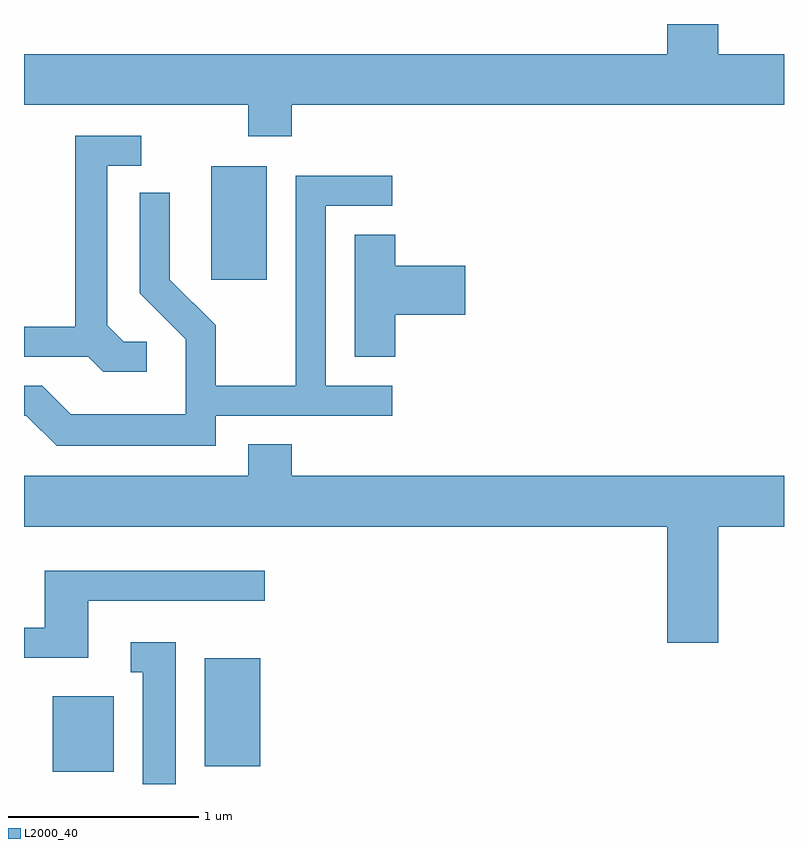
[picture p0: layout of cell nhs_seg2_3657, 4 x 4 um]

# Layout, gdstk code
import gdstk
lib = gdstk.Library(unit=1e-6, precision=1e-09)
def R(c, l, rs):  # rectangles x0, y0, x1, y1
    for r in rs: c.add(gdstk.rectangle(r[:2], r[2:], *l))
def P(c, l, *ps):  # polygons
    for p in ps: c.add(gdstk.Polygon(p, *l))
L2000_40 = (2000, 40)

nhs_seg2_3657 = lib.new_cell('nhs_seg2_3657')
R(nhs_seg2_3657, L2000_40, [(291.761,1095.866,292.084,1096.264), (292.561,1095.896,292.854,1096.464), (292.596,1098.456,292.889,1099.054)])
P(nhs_seg2_3657, L2000_40, [(293.019,1099.376),(295.611,1099.376),(295.611,1099.644),(295.264,1099.644),(295.264,1099.802),(294.996,1099.802),(294.996,1099.644),(291.611,1099.644),(291.611,1099.376),(292.791,1099.376),(292.791,1099.211),(293.019,1099.211)],
  [(292.258,1098.129),(292.137,1098.129),(292.049,1098.217),(292.049,1099.056),(292.228,1099.056),(292.228,1099.214),(291.881,1099.214),(291.881,1098.209),(291.611,1098.209),(291.611,1098.051),(291.949,1098.051),(292.029,1097.971),(292.258,1097.971)],
  [(292.619,1097.741),(293.548,1097.741),(293.548,1097.899),(293.199,1097.899),(293.199,1098.846),(293.548,1098.846),(293.548,1099.004),(293.041,1099.004),(293.041,1097.899),(292.619,1097.899),(292.619,1098.217),(292.379,1098.457),(292.379,1098.913),(292.221,1098.913),(292.221,1098.384),(292.461,1098.144),(292.461,1097.749),(291.857,1097.749),(291.707,1097.899),(291.611,1097.899),(291.611,1097.741),(291.624,1097.741),(291.784,1097.581),(292.619,1097.581)],
  [(293.564,1098.271),(293.934,1098.271),(293.934,1098.529),(293.564,1098.529),(293.564,1098.694),(293.351,1098.694),(293.351,1098.051),(293.564,1098.051)],
  [(295.264,1097.156),(295.611,1097.156),(295.611,1097.424),(293.019,1097.424),(293.019,1097.589),(292.791,1097.589),(292.791,1097.424),(291.611,1097.424),(291.611,1097.156),(294.996,1097.156),(294.996,1096.546),(295.264,1096.546)],
  [(291.949,1096.766),(292.878,1096.766),(292.878,1096.924),(291.721,1096.924),(291.721,1096.624),(291.611,1096.624),(291.611,1096.466),(291.949,1096.466)],
  [(292.409,1096.549),(292.173,1096.549),(292.173,1096.391),(292.236,1096.391),(292.236,1095.802),(292.409,1095.802)])

lib.write_gds('nhs_seg2_3657.gds')
